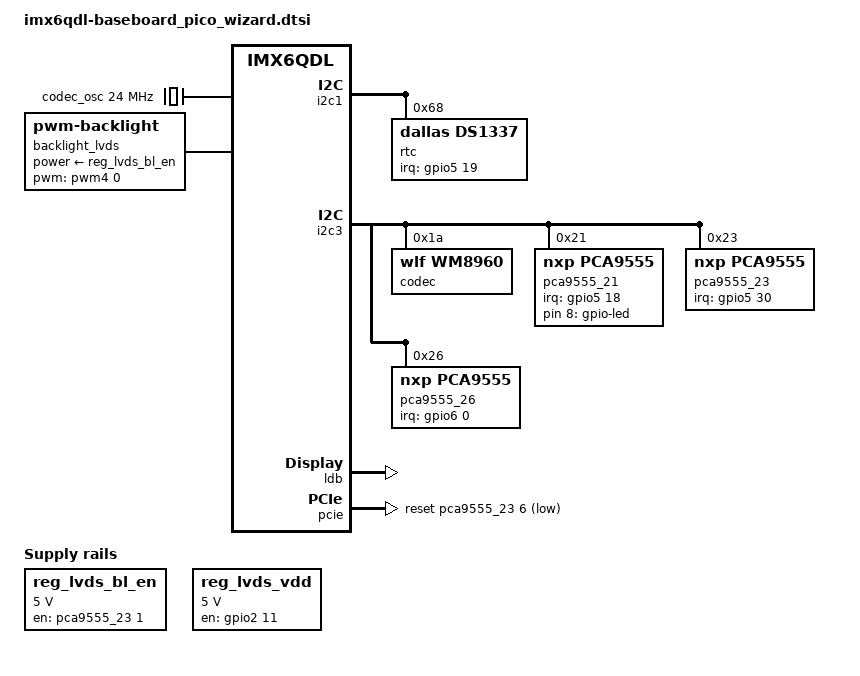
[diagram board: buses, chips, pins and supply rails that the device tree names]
/*
 * Copyright 2020 Technexion Ltd.
 *
 * Author: Richard Hu <richard.hu@technexion.com>
 *
 * This program is free software; you can redistribute it and/or modify
 * it under the terms of the GNU General Public License version 2 as
 * published by the Free Software Foundation.
 *
 */

/ {
	/delete-node/ backlight_lcd;
	/delete-node/ backlight_lvds;

	gpio-leds {
		compatible = "gpio-leds";

		led {
			label = "gpio-led";
			linux,default-trigger = "heartbeat";
			gpios = <&pca9555_21 8 GPIO_ACTIVE_HIGH>;
		};
	};

	sound_wm8960: sound-wm8960 {
		compatible = "fsl,imx-audio-wm8960";
		model = "wm8960-audio";
		cpu-dai = <&ssi1>;
		codec-master;
		audio-codec = <&codec>;
		mux-int-port = <1>;
		mux-ext-port = <3>;
		audio-routing =
			"Headphone Jack", "HP_L",
			"Headphone Jack", "HP_R",
			"Ext Spk", "SPK_LP",
			"Ext Spk", "SPK_LN",
			"Ext Spk", "SPK_RP",
			"Ext Spk", "SPK_RN",
			"LINPUT1", "Main MIC",
			"RINPUT1", "Main MIC",
			"Main MIC", "MICB";
		/* JD2: hp detect high for headphone*/
		hp-det = <2 0>;
	};

	clocks {
		codec_osc: aud_mclk {
			compatible = "fixed-clock";
			#clock-cells = <0>;
			clock-frequency = <24000000>;
			clock-output-names = "wm8960-mclk";
		};
	};

	backlight_lvds {
		compatible = "pwm-backlight";
		pwms = <&pwm4 0 50000>;
		brightness-levels = <0 36 72 108 144 180 216 255>;
		power-supply = <&reg_lvds_bl_en>;
		default-brightness-level = <6>;
	};

	regulators {
		reg_lvds_bl_en: lvds_bl_en {
				compatible = "regulator-fixed";
				pinctrl-names = "default";
				regulator-name = "fixed-supply";
				regulator-min-microvolt = <5000000>;
				regulator-max-microvolt = <5000000>;
				gpio = <&pca9555_23 1 0>;
				enable-active-high;
				regulator-always-on;
				regulator-boot-on;
		};

		reg_lvds_vdd: lvds_vdd {
				compatible = "regulator-fixed";
				pinctrl-names = "default";
				pinctrl-0 = <&pinctrl_lvds_vdd>;
				regulator-name = "fixed-supply";
				regulator-min-microvolt = <5000000>;
				regulator-max-microvolt = <5000000>;
				gpio = <&gpio2 11 0>;
				enable-active-high;
				regulator-always-on;
				regulator-boot-on;
		};
	};
};

&iomuxc {
	pinctrl_rtc_ds1337_irq: rtc_ds1337_irqgrp {
		fsl,pins = <
			MX6QDL_PAD_CSI0_MCLK__GPIO5_IO19	0x80000000 /* GPIO_P24, irq */
		>;
	};
	pinctrl_pca9555_21: pca9555_21grp {
		fsl,pins = <
			MX6QDL_PAD_CSI0_PIXCLK__GPIO5_IO18	0x80000000 /* GPIO_P25, irq */
		>;
	};

	pinctrl_pca9555_23: pca9555_23grp {
		fsl,pins = <
			MX6QDL_PAD_CSI0_DAT12__GPIO5_IO30	0x80000000 /* GPIO_P42, irq */
		>;
	};

	pinctrl_pca9555_26: pca9555_26grp {
		fsl,pins = <
			MX6QDL_PAD_CSI0_DAT14__GPIO6_IO00	0x80000000 /* GPIO_P34, irq */
		>;
	};

	pinctrl_lvds_vdd: lvds_vddgrp {
		fsl,pins = <
			MX6QDL_PAD_SD4_DAT3__GPIO2_IO11		0x80000000 /* DISP0_VDD_EN */
		>;
	};
};

&i2c1 {
	rtc: ds1337 {
		compatible = "dallas,ds1337";
		pinctrl-names = "default";
		pinctrl-0 = <&pinctrl_rtc_ds1337_irq>;
		reg = <0x68>;
		wakeup-source;
		interrupt-parent = <&gpio5>;
		interrupts = <19 0>;
	};
};

&i2c3 {
	codec: wm8960@1a {
		compatible = "wlf,wm8960";
		reg = <0x1a>;
		#sound-dai-cells = <0>;
		clocks = <&codec_osc>;  /* Note:  AXON-PI the clock is external osc */
		clock-names = "mclk";
		wlf,shared-lrclk;
		wlf,fixed-mclk;
	};

	pca9555_21: pca9555_21@21 {
		compatible = "nxp,pca9555";
		pinctrl-names = "default";
		pinctrl-0 = <&pinctrl_pca9555_21>;
		interrupt-parent = <&gpio5>;
		interrupts = <18 IRQ_TYPE_EDGE_FALLING>;
		reg =<0x21>;
		gpio-controller;
		#gpio-cells = <2>;
		interrupt-controller;
		#interrupt-cells = <2>;
	};

	pca9555_23: pca9555_23@23 {
		compatible = "nxp,pca9555";
		pinctrl-names = "default";
		pinctrl-0 = <&pinctrl_pca9555_23>;
		interrupt-parent = <&gpio5>;
		interrupts = <30 IRQ_TYPE_EDGE_FALLING>;
		reg =<0x23>;
		gpio-controller;
		#gpio-cells = <2>;
		interrupt-controller;
		#interrupt-cells = <2>;
	};

	pca9555_26: pca9555_26@26 {
		compatible = "nxp,pca9555";
		pinctrl-names = "default";
		pinctrl-0 = <&pinctrl_pca9555_26>;
		interrupt-parent = <&gpio6>;
		interrupts = <0 IRQ_TYPE_EDGE_FALLING>;
		reg =<0x26>;
		gpio-controller;
		#gpio-cells = <2>;
		interrupt-controller;
		#interrupt-cells = <2>;
	};
};

&ldb {
	status = "okay";
	lvds-channel@0 {
		fsl,data-mapping = "spwg";
		fsl,data-width = <24>;
		crtc = "ipu2-di0";
		primary;
		status = "okay";

		/delete-node/ display-timings;
		
		display-timings {
			native-mode = <&timing0>;
			timing0: VL101-12880YL {
				clock-frequency = <68900000>;
				hactive = <1280>;
				vactive = <800>;
				hfront-porch = <40>;
				hsync-len = <80>;
				hback-porch = <40>;
				vfront-porch = <3>;
				vsync-len = <10>;
				vback-porch = <10>;
				vsync-active = <1>;
				hsync-active = <1>;
			};
		};
	};
};

&pcie {
	clkreq-gpio = <&pca9555_23 7 GPIO_ACTIVE_LOW>;
	disable-gpio = <&pca9555_23 4 GPIO_ACTIVE_LOW>;
	reset-gpio = <&pca9555_23 6 GPIO_ACTIVE_LOW>;
	ext_osc = <1>;
	status = "okay";
};

